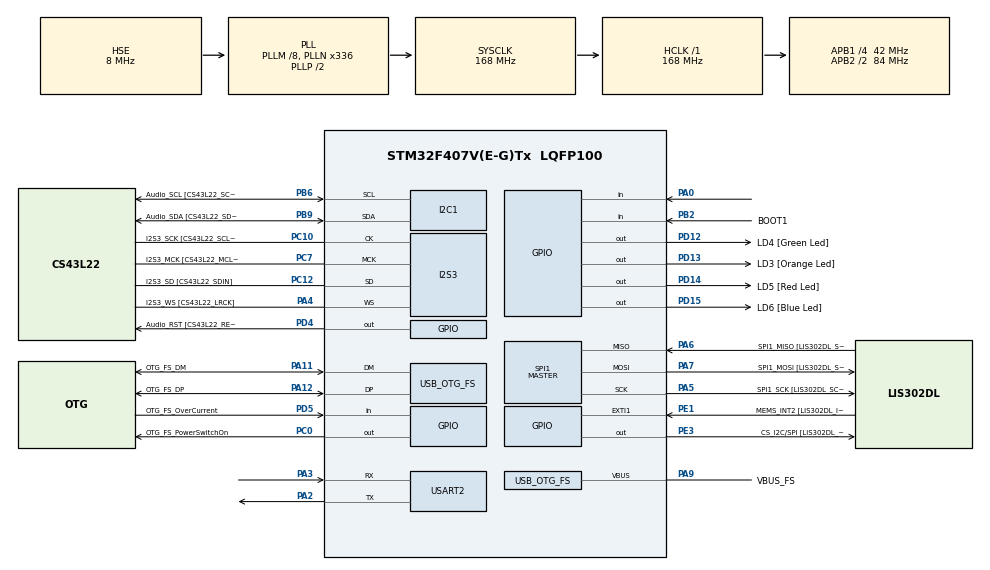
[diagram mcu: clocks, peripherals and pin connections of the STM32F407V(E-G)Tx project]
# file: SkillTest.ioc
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Dma.Request0=USART2_RX
Dma.Request1=USART2_TX
Dma.USART2_RX.0.Direction=DMA_PERIPH_TO_MEMORY
Dma.USART2_RX.0.FIFOMode=DMA_FIFOMODE_DISABLE
Dma.USART2_RX.0.Instance=DMA1_Stream5
Dma.USART2_RX.0.MemDataAlignment=DMA_MDATAALIGN_BYTE
Dma.USART2_RX.0.MemInc=DMA_MINC_ENABLE
Dma.USART2_RX.0.Mode=DMA_NORMAL
Dma.USART2_RX.0.PeriphDataAlignment=DMA_PDATAALIGN_BYTE
Dma.USART2_RX.0.PeriphInc=DMA_PINC_DISABLE
Dma.USART2_RX.0.Priority=DMA_PRIORITY_LOW
Dma.USART2_TX.1.Direction=DMA_MEMORY_TO_PERIPH
Dma.USART2_TX.1.FIFOMode=DMA_FIFOMODE_DISABLE
Dma.USART2_TX.1.Instance=DMA1_Stream6
Dma.USART2_TX.1.MemDataAlignment=DMA_MDATAALIGN_BYTE
Dma.USART2_TX.1.MemInc=DMA_MINC_ENABLE
Dma.USART2_TX.1.Mode=DMA_NORMAL
Dma.USART2_TX.1.PeriphDataAlignment=DMA_PDATAALIGN_BYTE
Dma.USART2_TX.1.PeriphInc=DMA_PINC_DISABLE
Dma.USART2_TX.1.Priority=DMA_PRIORITY_LOW
I2S3.AudioFreq-Half_Duplex_Master=I2S_AUDIOFREQ_96K
I2S3.ErrorAudioFreq=-2.34 %
I2S3.ErrorAudioFreq-Half_Duplex_Master=0.8 %
I2S3.FullDuplexMode=I2S_FULLDUPLEXMODE_DISABLE
I2S3.Instance=SPI$Index
I2S3.RealAudioFreq=93.75 KHz
I2S3.RealAudioFreq-Half_Duplex_Master=96.774 KHz
I2S3.VirtualMode=I2S_MODE_MASTER
Mcu.Family=STM32F4
Mcu.Name=STM32F407V(E-G)Tx
Mcu.Package=LQFP100
NVIC.DMA1_Stream5_IRQn=true\:0\:0\:false\:false\:true\:false
NVIC.DMA1_Stream6_IRQn=true\:0\:0\:false\:false\:true\:false
NVIC.OTG_FS_IRQn=true\:0\:0\:false\:false\:true\:true
NVIC.PriorityGroup=NVIC_PRIORITYGROUP_0
NVIC.TIM8_TRG_COM_TIM14_IRQn=true\:0\:0\:false\:false\:true\:true
PA0-WKUP.Signal=GPIO_Input
PA10.GPIO_Label=OTG_FS_ID
PA10.GPIO_Mode=GPIO_MODE_AF_PP
PA10.GPIO_PuPd=GPIO_NOPULL
PA10.GPIO_Speed=GPIO_SPEED_FREQ_LOW
PA10.Signal=USB_OTG_FS_ID
PA11.GPIO_Label=OTG_FS_DM
PA11.GPIO_Mode=GPIO_MODE_AF_PP
PA11.GPIO_PuPd=GPIO_NOPULL
PA11.GPIO_Speed=GPIO_SPEED_FREQ_LOW
PA11.Mode=Host_Only
PA11.Signal=USB_OTG_FS_DM
PA12.GPIO_Label=OTG_FS_DP
PA12.GPIO_Mode=GPIO_MODE_AF_PP
PA12.GPIO_PuPd=GPIO_NOPULL
PA12.GPIO_Speed=GPIO_SPEED_FREQ_LOW
PA12.Mode=Host_Only
PA12.Signal=USB_OTG_FS_DP
PA13.GPIO_Label=SWDIO
PA13.Mode=Serial_Wire
PA13.Signal=SYS_JTMS-SWDIO
PA14.GPIO_Label=SWCLK
PA14.Mode=Serial_Wire
PA14.Signal=SYS_JTCK-SWCLK
PA2.Mode=Asynchronous
PA2.Signal=USART2_TX
PA3.Mode=Asynchronous
PA3.Signal=USART2_RX
PA4.GPIO_Label=I2S3_WS [CS43L22_LRCK]
PA4.GPIO_Mode=GPIO_MODE_AF_PP
PA4.GPIO_PuPd=GPIO_NOPULL
PA4.GPIO_Speed=GPIO_SPEED_FREQ_LOW
PA4.Mode=Half_Duplex_Master
PA4.Signal=I2S3_WS
PA5.GPIO_Label=SPI1_SCK [LIS302DL_SCL/SPC]
PA5.GPIO_Mode=GPIO_MODE_AF_PP
PA5.GPIO_PuPd=GPIO_NOPULL
PA5.GPIO_Speed=GPIO_SPEED_FREQ_LOW
PA5.Mode=Full_Duplex_Master
PA5.Signal=SPI1_SCK
PA6.GPIO_Label=SPI1_MISO [LIS302DL_SDO]
PA6.GPIO_Mode=GPIO_MODE_AF_PP
PA6.GPIO_PuPd=GPIO_NOPULL
PA6.GPIO_Speed=GPIO_SPEED_FREQ_LOW
PA6.Mode=Full_Duplex_Master
PA6.Signal=SPI1_MISO
PA7.GPIO_Label=SPI1_MOSI [LIS302DL_SDA/SDI/SDO]
PA7.GPIO_Mode=GPIO_MODE_AF_PP
PA7.GPIO_PuPd=GPIO_NOPULL
PA7.GPIO_Speed=GPIO_SPEED_FREQ_LOW
PA7.Mode=Full_Duplex_Master
PA7.Signal=SPI1_MOSI
PA9.GPIO_Label=VBUS_FS
PA9.GPIO_Mode=GPIO_MODE_INPUT
PA9.GPIO_PuPd=GPIO_NOPULL
PA9.Mode=Activate_VBUS
PA9.Signal=USB_OTG_FS_VBUS
PB10.GPIO_Label=CLK_IN [MP45DT02_CLK]
PB10.GPIO_Mode=GPIO_MODE_AF_PP
PB10.GPIO_PuPd=GPIO_NOPULL
PB10.GPIO_Speed=GPIO_SPEED_FREQ_LOW
PB10.Signal=I2S2_CK
PB2.GPIO_Label=BOOT1
PB2.GPIO_Mode=GPIO_MODE_INPUT
PB2.GPIO_PuPd=GPIO_NOPULL
PB2.Signal=GPIO_Input
PB3.GPIO_Label=SWO
PB3.Signal=SYS_JTDO-SWO
PB6.GPIO_Label=Audio_SCL [CS43L22_SCL]
PB6.GPIO_Mode=GPIO_MODE_AF_OD
PB6.GPIO_PuPd=GPIO_NOPULL
PB6.GPIO_Speed=GPIO_SPEED_FREQ_LOW
PB6.Mode=I2C
PB6.Signal=I2C1_SCL
PB9.GPIO_Label=Audio_SDA [CS43L22_SDA]
PB9.GPIO_Mode=GPIO_MODE_AF_OD
PB9.GPIO_PuPd=GPIO_NOPULL
PB9.GPIO_Speed=GPIO_SPEED_FREQ_LOW
PB9.Mode=I2C
PB9.Signal=I2C1_SDA
PC0.GPIO_Label=OTG_FS_PowerSwitchOn
PC0.GPIO_PuPd=GPIO_NOPULL
PC0.GPIO_Speed=GPIO_SPEED_FREQ_LOW
PC0.PinState=GPIO_PIN_SET
PC0.Signal=GPIO_Output
PC10.GPIO_Label=I2S3_SCK [CS43L22_SCLK]
PC10.GPIO_Mode=GPIO_MODE_AF_PP
PC10.GPIO_PuPd=GPIO_NOPULL
PC10.GPIO_Speed=GPIO_SPEED_FREQ_LOW
PC10.Mode=Half_Duplex_Master
PC10.Signal=I2S3_CK
PC12.GPIO_Label=I2S3_SD [CS43L22_SDIN]
PC12.GPIO_Mode=GPIO_MODE_AF_PP
PC12.GPIO_PuPd=GPIO_NOPULL
PC12.GPIO_Speed=GPIO_SPEED_FREQ_LOW
PC12.Mode=Half_Duplex_Master
PC12.Signal=I2S3_SD
PC14-OSC32_IN.GPIO_Label=PC14-OSC32_IN
PC14-OSC32_IN.Mode=LSE-External-Oscillator
PC14-OSC32_IN.Signal=RCC_OSC32_IN
PC15-OSC32_OUT.GPIO_Label=PC15-OSC32_OUT
PC15-OSC32_OUT.Mode=LSE-External-Oscillator
PC15-OSC32_OUT.Signal=RCC_OSC32_OUT
PC3.GPIO_Label=PDM_OUT [MP45DT02_DOUT]
PC3.GPIO_Mode=GPIO_MODE_AF_PP
PC3.GPIO_PuPd=GPIO_NOPULL
PC3.GPIO_Speed=GPIO_SPEED_FREQ_LOW
PC3.Signal=I2S2_SD
PC7.GPIO_Label=I2S3_MCK [CS43L22_MCLK]
PC7.GPIO_Mode=GPIO_MODE_AF_PP
PC7.GPIO_PuPd=GPIO_NOPULL
PC7.GPIO_Speed=GPIO_SPEED_FREQ_LOW
PC7.Mode=Master_Clock_Activated
PC7.Signal=I2S3_MCK
PD12.GPIO_Label=LD4 [Green Led]
PD12.GPIO_PuPd=GPIO_NOPULL
PD12.GPIO_Speed=GPIO_SPEED_FREQ_LOW
PD12.Signal=GPIO_Output
PD13.GPIO_Label=LD3 [Orange Led]
PD13.GPIO_PuPd=GPIO_NOPULL
PD13.GPIO_Speed=GPIO_SPEED_FREQ_LOW
PD13.Signal=GPIO_Output
PD14.GPIO_Label=LD5 [Red Led]
PD14.GPIO_PuPd=GPIO_NOPULL
PD14.GPIO_Speed=GPIO_SPEED_FREQ_LOW
PD14.Signal=GPIO_Output
PD15.GPIO_Label=LD6 [Blue Led]
PD15.GPIO_PuPd=GPIO_NOPULL
PD15.GPIO_Speed=GPIO_SPEED_FREQ_LOW
PD15.Signal=GPIO_Output
PD4.GPIO_Label=Audio_RST [CS43L22_RESET]
PD4.GPIO_PuPd=GPIO_NOPULL
PD4.GPIO_Speed=GPIO_SPEED_FREQ_LOW
PD4.Signal=GPIO_Output
PD5.GPIO_Label=OTG_FS_OverCurrent
PD5.GPIO_Mode=GPIO_MODE_INPUT
PD5.GPIO_PuPd=GPIO_NOPULL
PD5.Signal=GPIO_Input
PE1.GPIO_Label=MEMS_INT2 [LIS302DL_INT2]
PE1.GPIO_ModeDefaultEXTI=GPIO_MODE_EVT_RISING
PE1.GPIO_PuPd=GPIO_NOPULL
PE1.Signal=GPXTI1
PE3.GPIO_Label=CS_I2C/SPI [LIS302DL_CS_I2C/SPI]
PE3.GPIO_PuPd=GPIO_NOPULL
PE3.GPIO_Speed=GPIO_SPEED_FREQ_LOW
PE3.Signal=GPIO_Output
PH0-OSC_IN.GPIO_Label=PH0-OSC_IN
PH0-OSC_IN.Mode=HSE-External-Oscillator
PH0-OSC_IN.Signal=RCC_OSC_IN
PH1-OSC_OUT.GPIO_Label=PH1-OSC_OUT
PH1-OSC_OUT.Mode=HSE-External-Oscillator
PH1-OSC_OUT.Signal=RCC_OSC_OUT
ProjectManager.HeapSize=0x200
ProjectManager.StackSize=0x400
ProjectManager.TargetToolchain=SW4STM32
RCC.48MHZClocksFreq_Value=48000000
RCC.AHBFreq_Value=168000000
RCC.APB1CLKDivider=RCC_HCLK_DIV4
RCC.APB1Freq_Value=42000000
RCC.APB1TimFreq_Value=84000000
RCC.APB2CLKDivider=RCC_HCLK_DIV2
RCC.APB2Freq_Value=84000000
RCC.APB2TimFreq_Value=168000000
RCC.CortexFreq_Value=168000000
RCC.HCLKFreq_Value=168000000
RCC.HSE_VALUE=8000000
RCC.HSI_VALUE=16000000
RCC.PLLM=8
RCC.PLLN=336
RCC.PLLQ=7
RCC.SYSCLKFreq_VALUE=168000000
RCC.SYSCLKSource=RCC_SYSCLKSOURCE_PLLCLK
RCC.VCOOutputFreq_Value=336000000
SPI1.BaudRatePrescaler-Full_Duplex_Master=SPI_BAUDRATEPRESCALER_2
SPI1.CalculateBaudRate-Full_Duplex_Master=42.0 MBits/s
SPI1.Direction=SPI_DIRECTION_2LINES
SPI1.Mode=SPI_MODE_MASTER
SPI1.Mode-Full_Duplex_Master=SPI_MODE_MASTER
SPI1.VirtualType=VM_MASTER
TIM14.Period=4999
TIM14.Prescaler=8399
USART2.VirtualMode=VM_ASYNC
USB_HOST.BSP.number=1
USB_HOST.USBH_HandleTypeDef-CDC_FS=hUsbHostFS
USB_HOST.VirtualModeFS=Cdc
USB_HOST0.BSP.STBoard=false
USB_HOST0.BSP.api=Unknown
USB_HOST0.BSP.i2caddr=0
USB_HOST0.BSP.i2creg=0
USB_HOST0.BSP.instance=PC0
USB_HOST0.BSP.ip=GPIO
USB_HOST0.BSP.mode=Output
USB_HOST0.BSP.name=Drive_VBUS_FS
USB_HOST0.BSP.solution=PC0
USB_OTG_FS.VirtualMode=Host_Only
USB_OTG_FS.phy_itface=HCD_PHY_EMBEDDED
VP_TIM14_VS_ClockSourceINT.Mode=Enable_Timer
VP_USB_HOST_VS_USB_HOST_CDC_FS.Mode=CDC_FS
board=STM32F4DISCOVERY

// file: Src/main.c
/**
  ******************************************************************************
  * @file           : main.c
  * @brief          : Main program body
  ******************************************************************************
  * This notice applies to any and all portions of this file
  * that are not between comment pairs USER CODE BEGIN and
  * USER CODE END. Other portions of this file, whether
  * inserted by the user or by software development tools
  * are owned by their respective copyright owners.
  *
  * Copyright (c) 2018 STMicroelectronics International N.V.
  * All rights reserved.
  *
  * Redistribution and use in source and binary forms, with or without
  * modification, are permitted, provided that the following conditions are met:
  *
  * 1. Redistribution of source code must retain the above copyright notice,
  *    this list of conditions and the following disclaimer.
  * 2. Redistributions in binary form must reproduce the above copyright notice,
  *    this list of conditions and the following disclaimer in the documentation
  *    and/or other materials provided with the distribution.
  * 3. Neither the name of STMicroelectronics nor the names of other
  *    contributors to this software may be used to endorse or promote products
  *    derived from this software without specific written permission.
  * 4. This software, including modifications and/or derivative works of this
  *    software, must execute solely and exclusively on microcontroller or
  *    microprocessor devices manufactured by or for STMicroelectronics.
  * 5. Redistribution and use of this software other than as permitted under
  *    this license is void and will automatically terminate your rights under
  *    this license.
  *
  * THIS SOFTWARE IS PROVIDED BY STMICROELECTRONICS AND CONTRIBUTORS "AS IS"
  * AND ANY EXPRESS, IMPLIED OR STATUTORY WARRANTIES, INCLUDING, BUT NOT
  * LIMITED TO, THE IMPLIED WARRANTIES OF MERCHANTABILITY, FITNESS FOR A
  * PARTICULAR PURPOSE AND NON-INFRINGEMENT OF THIRD PARTY INTELLECTUAL PROPERTY
  * RIGHTS ARE DISCLAIMED TO THE FULLEST EXTENT PERMITTED BY LAW. IN NO EVENT
  * SHALL STMICROELECTRONICS OR CONTRIBUTORS BE LIABLE FOR ANY DIRECT, INDIRECT,
  * INCIDENTAL, SPECIAL, EXEMPLARY, OR CONSEQUENTIAL DAMAGES (INCLUDING, BUT NOT
  * LIMITED TO, PROCUREMENT OF SUBSTITUTE GOODS OR SERVICES; LOSS OF USE, DATA,
  * OR PROFITS; OR BUSINESS INTERRUPTION) HOWEVER CAUSED AND ON ANY THEORY OF
  * LIABILITY, WHETHER IN CONTRACT, STRICT LIABILITY, OR TORT (INCLUDING
  * NEGLIGENCE OR OTHERWISE) ARISING IN ANY WAY OUT OF THE USE OF THIS SOFTWARE,
  * EVEN IF ADVISED OF THE POSSIBILITY OF SUCH DAMAGE.
  *
  ******************************************************************************
  */
#include "main.h"
#include "stm32f4xx_hal.h"
#include "usb_host.h"

I2C_HandleTypeDef hi2c1;

I2S_HandleTypeDef hi2s3;

SPI_HandleTypeDef hspi1;

TIM_HandleTypeDef htim14;

UART_HandleTypeDef huart2;
DMA_HandleTypeDef hdma_usart2_rx;
DMA_HandleTypeDef hdma_usart2_tx;

/* USER CODE BEGIN PV */
/* Private variables ---------------------------------------------------------*/
uint8_t on_red, on_green, is_hello, count;
uint8_t pbuf[16];
/* USER CODE END PV */

void SystemClock_Config(void);
static void MX_GPIO_Init(void);
static void MX_DMA_Init(void);
static void MX_I2C1_Init(void);
static void MX_I2S3_Init(void);
static void MX_SPI1_Init(void);
static void MX_USART2_UART_Init(void);
static void MX_TIM14_Init(void);
void MX_USB_HOST_Process(void);

/* USER CODE BEGIN PFP */
/* Private function prototypes -----------------------------------------------*/
void HAL_UART_RxCpltCallback(UART_HandleTypeDef *huart) {
	if (pbuf[0] == '1') on_green = !on_green;
	else if (pbuf[0] == '2') on_red = !on_red;

	HAL_UART_Receive_DMA(&huart2, pbuf, 1);
}
void HAL_TIM_PeriodElapsedCallback(TIM_HandleTypeDef *htim) {
	if (on_red) HAL_GPIO_TogglePin(GPIOD, GPIO_PIN_14);
	if (on_green) HAL_GPIO_TogglePin(GPIOD, GPIO_PIN_12);

	if (count == 0)
	{
		HAL_UART_AbortReceive(&huart2);
		HAL_UART_Transmit(&huart2, &pbuf[4], 6);
		HAL_UART_Receive_DMA(&huart2, pbuf, 1);
	}
	count = !count;
}
/* USER CODE END PFP */

int main(void)
{

  /* MCU Configuration----------------------------------------------------------*/

  /* Reset of all peripherals, Initializes the Flash interface and the Systick. */
  HAL_Init();

  /* Configure the system clock */
  SystemClock_Config();

  /* Initialize all configured peripherals */
  MX_GPIO_Init();
  MX_DMA_Init();
  MX_I2C1_Init();
  MX_I2S3_Init();
  MX_SPI1_Init();
  MX_USB_HOST_Init();
  MX_USART2_UART_Init();
  MX_TIM14_Init();
  /* USER CODE BEGIN 2 */
  on_red = on_green = is_hello = 1;
  count = 0;
  HAL_TIM_Base_Start_IT(&htim14);
  /* USER CODE END 2 */

  /* Infinite loop */
  while (1)
  {
    MX_USB_HOST_Process();

  /* USER CODE BEGIN 3 */
	  if (HAL_GPIO_ReadPin(GPIOA, GPIO_PIN_0))
	  {
		  HAL_Delay(50);
		  while (HAL_GPIO_ReadPin(GPIOA, GPIO_PIN_0))
			  HAL_Delay(50);
		  is_hello = !is_hello;
		  sprintf(&pbuf4], (is_hello)? "HELLO\n": "WORLD\n");
	  }

  }
  /* USER CODE END 3 */

}

void SystemClock_Config(void)
{

  RCC_OscInitTypeDef RCC_OscInitStruct;
  RCC_ClkInitTypeDef RCC_ClkInitStruct;
  RCC_PeriphCLKInitTypeDef PeriphClkInitStruct;

    /**Configure the main internal regulator output voltage
    */
  __HAL_RCC_PWR_CLK_ENABLE();

  __HAL_PWR_VOLTAGESCALING_CONFIG(PWR_REGULATOR_VOLTAGE_SCALE1);

    /**Initializes the CPU, AHB and APB busses clocks
    */
  RCC_OscInitStruct.OscillatorType = RCC_OSCILLATORTYPE_HSE;
  RCC_OscInitStruct.HSEState = RCC_HSE_ON;
  RCC_OscInitStruct.PLL.PLLState = RCC_PLL_ON;
  RCC_OscInitStruct.PLL.PLLSource = RCC_PLLSOURCE_HSE;
  RCC_OscInitStruct.PLL.PLLM = 8;
  RCC_OscInitStruct.PLL.PLLN = 336;
  RCC_OscInitStruct.PLL.PLLP = RCC_PLLP_DIV2;
  RCC_OscInitStruct.PLL.PLLQ = 7;
  if (HAL_RCC_OscConfig(&RCC_OscInitStruct) != HAL_OK)
  {
    _Error_Handler(__FILE__, __LINE__);
  }

    /**Initializes the CPU, AHB and APB busses clocks
    */
  RCC_ClkInitStruct.ClockType = RCC_CLOCKTYPE_HCLK|RCC_CLOCKTYPE_SYSCLK
                              |RCC_CLOCKTYPE_PCLK1|RCC_CLOCKTYPE_PCLK2;
  RCC_ClkInitStruct.SYSCLKSource = RCC_SYSCLKSOURCE_PLLCLK;
  RCC_ClkInitStruct.AHBCLKDivider = RCC_SYSCLK_DIV1;
  RCC_ClkInitStruct.APB1CLKDivider = RCC_HCLK_DIV4;
  RCC_ClkInitStruct.APB2CLKDivider = RCC_HCLK_DIV2;

  if (HAL_RCC_ClockConfig(&RCC_ClkInitStruct, FLASH_LATENCY_5) != HAL_OK)
  {
    _Error_Handler(__FILE__, __LINE__);
  }

  PeriphClkInitStruct.PeriphClockSelection = RCC_PERIPHCLK_I2S;
  PeriphClkInitStruct.PLLI2S.PLLI2SN = 192;
  PeriphClkInitStruct.PLLI2S.PLLI2SR = 2;
  if (HAL_RCCEx_PeriphCLKConfig(&PeriphClkInitStruct) != HAL_OK)
  {
    _Error_Handler(__FILE__, __LINE__);
  }

    /**Configure the Systick interrupt time
    */
  HAL_SYSTICK_Config(HAL_RCC_GetHCLKFreq()/1000);

    /**Configure the Systick
    */
  HAL_SYSTICK_CLKSourceConfig(SYSTICK_CLKSOURCE_HCLK);

  /* SysTick_IRQn interrupt configuration */
  HAL_NVIC_SetPriority(SysTick_IRQn, 0, 0);
}

/* I2C1 init function */
static void MX_I2C1_Init(void)
{

  hi2c1.Instance = I2C1;
  hi2c1.Init.ClockSpeed = 100000;
  hi2c1.Init.DutyCycle = I2C_DUTYCYCLE_2;
  hi2c1.Init.OwnAddress1 = 0;
  hi2c1.Init.AddressingMode = I2C_ADDRESSINGMODE_7BIT;
  hi2c1.Init.DualAddressMode = I2C_DUALADDRESS_DISABLE;
  hi2c1.Init.OwnAddress2 = 0;
  hi2c1.Init.GeneralCallMode = I2C_GENERALCALL_DISABLE;
  hi2c1.Init.NoStretchMode = I2C_NOSTRETCH_DISABLE;
  if (HAL_I2C_Init(&hi2c1) != HAL_OK)
  {
    _Error_Handler(__FILE__, __LINE__);
  }

}

/* I2S3 init function */
static void MX_I2S3_Init(void)
{

  hi2s3.Instance = SPI3;
  hi2s3.Init.Mode = I2S_MODE_MASTER_TX;
  hi2s3.Init.Standard = I2S_STANDARD_PHILIPS;
  hi2s3.Init.DataFormat = I2S_DATAFORMAT_16B;
  hi2s3.Init.MCLKOutput = I2S_MCLKOUTPUT_ENABLE;
  hi2s3.Init.AudioFreq = I2S_AUDIOFREQ_96K;
  hi2s3.Init.CPOL = I2S_CPOL_LOW;
  hi2s3.Init.ClockSource = I2S_CLOCK_PLL;
  hi2s3.Init.FullDuplexMode = I2S_FULLDUPLEXMODE_DISABLE;
  if (HAL_I2S_Init(&hi2s3) != HAL_OK)
  {
    _Error_Handler(__FILE__, __LINE__);
  }

}

/* SPI1 init function */
static void MX_SPI1_Init(void)
{

  /* SPI1 parameter configuration*/
  hspi1.Instance = SPI1;
  hspi1.Init.Mode = SPI_MODE_MASTER;
  hspi1.Init.Direction = SPI_DIRECTION_2LINES;
  hspi1.Init.DataSize = SPI_DATASIZE_8BIT;
  hspi1.Init.CLKPolarity = SPI_POLARITY_LOW;
  hspi1.Init.CLKPhase = SPI_PHASE_1EDGE;
  hspi1.Init.NSS = SPI_NSS_SOFT;
  hspi1.Init.BaudRatePrescaler = SPI_BAUDRATEPRESCALER_2;
  hspi1.Init.FirstBit = SPI_FIRSTBIT_MSB;
  hspi1.Init.TIMode = SPI_TIMODE_DISABLE;
  hspi1.Init.CRCCalculation = SPI_CRCCALCULATION_DISABLE;
  hspi1.Init.CRCPolynomial = 10;
  if (HAL_SPI_Init(&hspi1) != HAL_OK)
  {
    _Error_Handler(__FILE__, __LINE__);
  }

}

/* TIM14 init function */
static void MX_TIM14_Init(void)
{

  htim14.Instance = TIM14;
  htim14.Init.Prescaler = 8399;
  htim14.Init.CounterMode = TIM_COUNTERMODE_UP;
  htim14.Init.Period = 4999;
  htim14.Init.ClockDivision = TIM_CLOCKDIVISION_DIV1;
  if (HAL_TIM_Base_Init(&htim14) != HAL_OK)
  {
    _Error_Handler(__FILE__, __LINE__);
  }

}

/* USART2 init function */
static void MX_USART2_UART_Init(void)
{

  huart2.Instance = USART2;
  huart2.Init.BaudRate = 115200;
  huart2.Init.WordLength = UART_WORDLENGTH_8B;
  huart2.Init.StopBits = UART_STOPBITS_1;
  huart2.Init.Parity = UART_PARITY_NONE;
  huart2.Init.Mode = UART_MODE_TX_RX;
  huart2.Init.HwFlowCtl = UART_HWCONTROL_NONE;
  huart2.Init.OverSampling = UART_OVERSAMPLING_16;
  if (HAL_UART_Init(&huart2) != HAL_OK)
  {
    _Error_Handler(__FILE__, __LINE__);
  }

}

static void MX_DMA_Init(void)
{
  /* DMA controller clock enable */
  __HAL_RCC_DMA1_CLK_ENABLE();

  /* DMA interrupt init */
  /* DMA1_Stream5_IRQn interrupt configuration */
  HAL_NVIC_SetPriority(DMA1_Stream5_IRQn, 0, 0);
  HAL_NVIC_EnableIRQ(DMA1_Stream5_IRQn);
  /* DMA1_Stream6_IRQn interrupt configuration */
  HAL_NVIC_SetPriority(DMA1_Stream6_IRQn, 0, 0);
  HAL_NVIC_EnableIRQ(DMA1_Stream6_IRQn);

}

/** Configure pins as
        * Analog
        * Input
        * Output
        * EVENT_OUT
        * EXTI
     PC3   ------> I2S2_SD
     PB10   ------> I2S2_CK
*/
static void MX_GPIO_Init(void)
{

  GPIO_InitTypeDef GPIO_InitStruct;

  /* GPIO Ports Clock Enable */
  __HAL_RCC_GPIOE_CLK_ENABLE();
  __HAL_RCC_GPIOC_CLK_ENABLE();
  __HAL_RCC_GPIOH_CLK_ENABLE();
  __HAL_RCC_GPIOA_CLK_ENABLE();
  __HAL_RCC_GPIOB_CLK_ENABLE();
  __HAL_RCC_GPIOD_CLK_ENABLE();

  /*Configure GPIO pin Output Level */
  HAL_GPIO_WritePin(CS_I2C_SPI_GPIO_Port, CS_I2C_SPI_Pin, GPIO_PIN_RESET);

  /*Configure GPIO pin Output Level */
  HAL_GPIO_WritePin(OTG_FS_PowerSwitchOn_GPIO_Port, OTG_FS_PowerSwitchOn_Pin, GPIO_PIN_SET);

  /*Configure GPIO pin Output Level */
  HAL_GPIO_WritePin(GPIOD, LD4_Pin|LD3_Pin|LD5_Pin|LD6_Pin
                          |Audio_RST_Pin, GPIO_PIN_RESET);

  /*Configure GPIO pin : CS_I2C_SPI_Pin */
  GPIO_InitStruct.Pin = CS_I2C_SPI_Pin;
  GPIO_InitStruct.Mode = GPIO_MODE_OUTPUT_PP;
  GPIO_InitStruct.Pull = GPIO_NOPULL;
  GPIO_InitStruct.Speed = GPIO_SPEED_FREQ_LOW;
  HAL_GPIO_Init(CS_I2C_SPI_GPIO_Port, &GPIO_InitStruct);

  /*Configure GPIO pin : OTG_FS_PowerSwitchOn_Pin */
  GPIO_InitStruct.Pin = OTG_FS_PowerSwitchOn_Pin;
  GPIO_InitStruct.Mode = GPIO_MODE_OUTPUT_PP;
  GPIO_InitStruct.Pull = GPIO_NOPULL;
  GPIO_InitStruct.Speed = GPIO_SPEED_FREQ_LOW;
  HAL_GPIO_Init(OTG_FS_PowerSwitchOn_GPIO_Port, &GPIO_InitStruct);

  /*Configure GPIO pin : PDM_OUT_Pin */
  GPIO_InitStruct.Pin = PDM_OUT_Pin;
  GPIO_InitStruct.Mode = GPIO_MODE_AF_PP;
  GPIO_InitStruct.Pull = GPIO_NOPULL;
  GPIO_InitStruct.Speed = GPIO_SPEED_FREQ_LOW;
  GPIO_InitStruct.Alternate = GPIO_AF5_SPI2;
  HAL_GPIO_Init(PDM_OUT_GPIO_Port, &GPIO_InitStruct);

  /*Configure GPIO pin : PA0 */
  GPIO_InitStruct.Pin = GPIO_PIN_0;
  GPIO_InitStruct.Mode = GPIO_MODE_INPUT;
  GPIO_InitStruct.Pull = GPIO_NOPULL;
  HAL_GPIO_Init(GPIOA, &GPIO_InitStruct);

  /*Configure GPIO pin : BOOT1_Pin */
  GPIO_InitStruct.Pin = BOOT1_Pin;
  GPIO_InitStruct.Mode = GPIO_MODE_INPUT;
  GPIO_InitStruct.Pull = GPIO_NOPULL;
  HAL_GPIO_Init(BOOT1_GPIO_Port, &GPIO_InitStruct);

  /*Configure GPIO pin : CLK_IN_Pin */
  GPIO_InitStruct.Pin = CLK_IN_Pin;
  GPIO_InitStruct.Mode = GPIO_MODE_AF_PP;
  GPIO_InitStruct.Pull = GPIO_NOPULL;
  GPIO_InitStruct.Speed = GPIO_SPEED_FREQ_LOW;
  GPIO_InitStruct.Alternate = GPIO_AF5_SPI2;
  HAL_GPIO_Init(CLK_IN_GPIO_Port, &GPIO_InitStruct);

  /*Configure GPIO pins : LD4_Pin LD3_Pin LD5_Pin LD6_Pin
                           Audio_RST_Pin */
  GPIO_InitStruct.Pin = LD4_Pin|LD3_Pin|LD5_Pin|LD6_Pin
                          |Audio_RST_Pin;
  GPIO_InitStruct.Mode = GPIO_MODE_OUTPUT_PP;
  GPIO_InitStruct.Pull = GPIO_NOPULL;
  GPIO_InitStruct.Speed = GPIO_SPEED_FREQ_LOW;
  HAL_GPIO_Init(GPIOD, &GPIO_InitStruct);

  /*Configure GPIO pin : OTG_FS_OverCurrent_Pin */
  GPIO_InitStruct.Pin = OTG_FS_OverCurrent_Pin;
  GPIO_InitStruct.Mode = GPIO_MODE_INPUT;
  GPIO_InitStruct.Pull = GPIO_NOPULL;
  HAL_GPIO_Init(OTG_FS_OverCurrent_GPIO_Port, &GPIO_InitStruct);

  /*Configure GPIO pin : MEMS_INT2_Pin */
  GPIO_InitStruct.Pin = MEMS_INT2_Pin;
  GPIO_InitStruct.Mode = GPIO_MODE_EVT_RISING;
  GPIO_InitStruct.Pull = GPIO_NOPULL;
  HAL_GPIO_Init(MEMS_INT2_GPIO_Port, &GPIO_InitStruct);

}

void _Error_Handler(char *file, int line)
{
  while(1)
  {
  }
}

/************************ (C) COPYRIGHT STMicroelectronics *****END OF FILE****/
